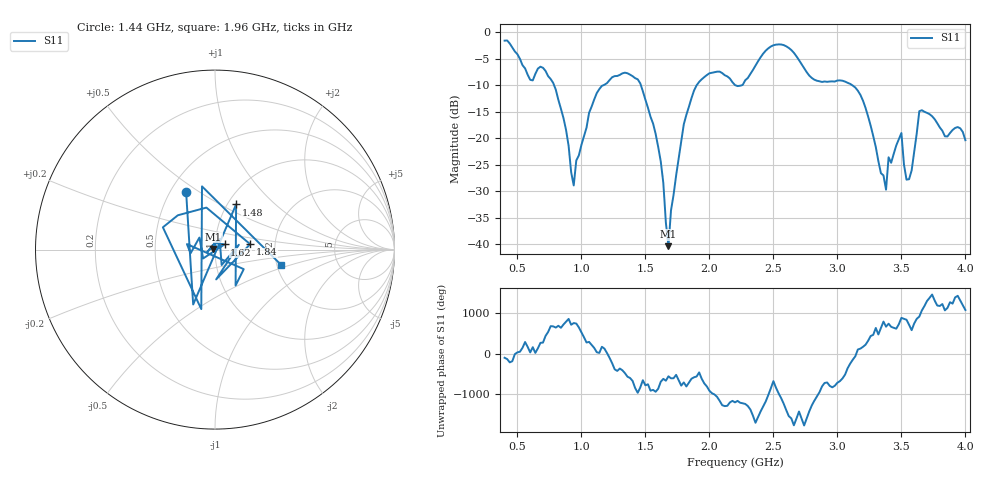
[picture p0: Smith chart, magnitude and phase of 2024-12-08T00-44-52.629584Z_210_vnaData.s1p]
!Created with skrf (http://scikit-rf.org).
# Hz S RI R 50.0
!freq ReS11 ImS11
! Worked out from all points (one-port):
!   181 points, 400 MHz to 4 GHz, reference 50 ohm
!   lowest |S11| = -40.4 dB at 1.68 GHz (marker M1), VSWR 1.02, Z = 49.1 + j0.298 ohm
!   |S11| at or under -10 dB: 786.6 MHz to 1.171 GHz (384.9 MHz wide, 39.3 % of centre); 1.465 GHz to 1.9 GHz (435.7 MHz wide, 25.9 % of centre); 3.116 GHz to end of sweep (the widest 3 of 4)
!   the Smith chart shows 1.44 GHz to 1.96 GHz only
!   S11 on the Smith chart (normalised r, x): 1.44 GHz: 0.60, +0.44; 1.48 GHz: 1.10, +0.60; 1.62 GHz: 1.11, +0.06; 1.84 GHz: 1.48, +0.09; 1.96 GHz: 2.11, -0.42
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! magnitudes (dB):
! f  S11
! 400 MHz  -1.6
! 600 MHz  -9.0
! 720 MHz  -7.3
! 860 MHz  -16.2
! 940 MHz  -28.9
! 960 MHz  -24.2
! 1.12 GHz  -11.5
! 1.3 GHz  -8.1
! 1.44 GHz  -8.9
! 1.48 GHz  -11.1
! 1.62 GHz  -24.4
! 1.68 GHz  -40.4
! 1.76 GHz  -23.8
! 1.84 GHz  -14.1
! 1.96 GHz  -8.5
! 2.2 GHz  -10.0
! 2.48 GHz  -2.7
! 2.66 GHz  -3.9
! 2.82 GHz  -9.0
! 3.1 GHz  -9.7
! 3.22 GHz  -14.3
! 3.38 GHz  -29.7
! 3.4 GHz  -23.6
! 3.5 GHz  -19.0
! 3.52 GHz  -24.9
! 3.56 GHz  -27.7
! 3.64 GHz  -14.9
! 4 GHz  -20.4
